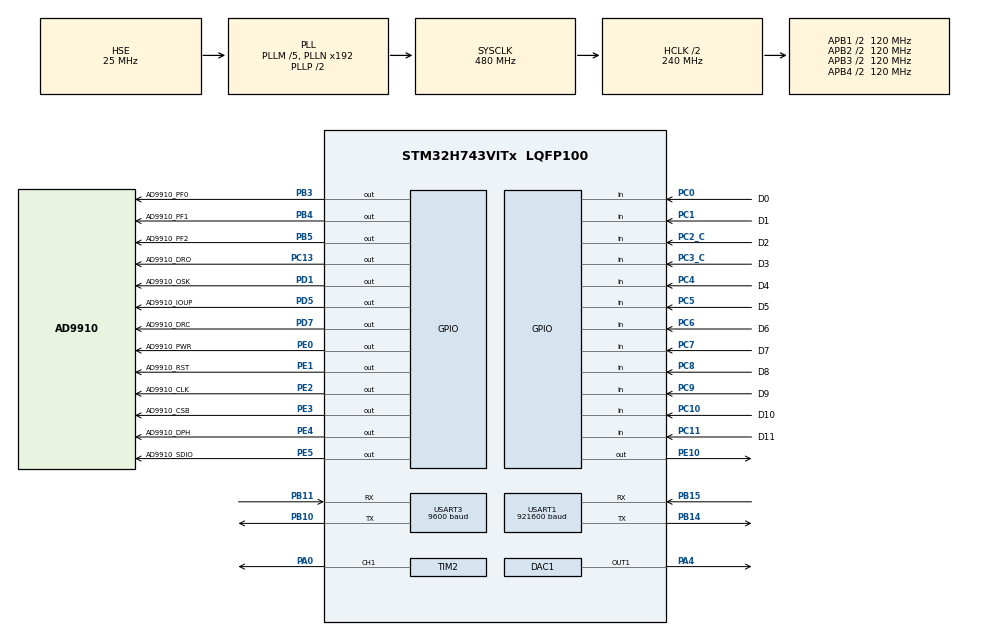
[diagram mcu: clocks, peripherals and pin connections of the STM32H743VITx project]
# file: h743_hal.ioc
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CORTEX_M7.AccessPermission_Spec=MPU_REGION_FULL_ACCESS
CORTEX_M7.BaseAddress_Spec=0x24000000
CORTEX_M7.CPU_DCache=Enabled
CORTEX_M7.CPU_ICache=Enabled
CORTEX_M7.DisableExec_Spec=MPU_INSTRUCTION_ACCESS_ENABLE
CORTEX_M7.IsShareable_Spec=MPU_ACCESS_NOT_SHAREABLE
CORTEX_M7.Size_Spec=MPU_REGION_SIZE_128KB
CORTEX_M7.SubRegionDisable_Spec=0x00
CORTEX_M7.TypeExtField_Spec=MPU_TEX_LEVEL1
CORTEX_M7.default_mode_Activation=1
DAC1.DAC_Channel-DAC_OUT1=DAC_CHANNEL_1
DAC1.DAC_Trigger-DAC_OUT1=DAC_TRIGGER_T4_TRGO
Dma.DAC1_CH1.1.Direction=DMA_MEMORY_TO_PERIPH
Dma.DAC1_CH1.1.EventEnable=DISABLE
Dma.DAC1_CH1.1.FIFOMode=DMA_FIFOMODE_DISABLE
Dma.DAC1_CH1.1.Instance=DMA1_Stream1
Dma.DAC1_CH1.1.MemDataAlignment=DMA_MDATAALIGN_HALFWORD
Dma.DAC1_CH1.1.MemInc=DMA_MINC_ENABLE
Dma.DAC1_CH1.1.Mode=DMA_CIRCULAR
Dma.DAC1_CH1.1.PeriphDataAlignment=DMA_PDATAALIGN_HALFWORD
Dma.DAC1_CH1.1.PeriphInc=DMA_PINC_DISABLE
Dma.DAC1_CH1.1.Polarity=HAL_DMAMUX_REQ_GEN_RISING
Dma.DAC1_CH1.1.Priority=DMA_PRIORITY_LOW
Dma.DAC1_CH1.1.RequestNumber=1
Dma.DAC1_CH1.1.SignalID=NONE
Dma.DAC1_CH1.1.SyncEnable=DISABLE
Dma.DAC1_CH1.1.SyncPolarity=HAL_DMAMUX_SYNC_NO_EVENT
Dma.DAC1_CH1.1.SyncRequestNumber=1
Dma.DAC1_CH1.1.SyncSignalID=NONE
Dma.Request0=TIM2_CH2
Dma.Request1=DAC1_CH1
Dma.TIM2_CH2.0.Direction=DMA_PERIPH_TO_MEMORY
Dma.TIM2_CH2.0.EventEnable=DISABLE
Dma.TIM2_CH2.0.FIFOMode=DMA_FIFOMODE_DISABLE
Dma.TIM2_CH2.0.Instance=DMA1_Stream0
Dma.TIM2_CH2.0.MemDataAlignment=DMA_MDATAALIGN_HALFWORD
Dma.TIM2_CH2.0.MemInc=DMA_MINC_ENABLE
Dma.TIM2_CH2.0.Mode=DMA_NORMAL
Dma.TIM2_CH2.0.PeriphDataAlignment=DMA_PDATAALIGN_HALFWORD
Dma.TIM2_CH2.0.PeriphInc=DMA_PINC_DISABLE
Dma.TIM2_CH2.0.Polarity=HAL_DMAMUX_REQ_GEN_RISING
Dma.TIM2_CH2.0.Priority=DMA_PRIORITY_LOW
Dma.TIM2_CH2.0.RequestNumber=1
Dma.TIM2_CH2.0.SignalID=NONE
Dma.TIM2_CH2.0.SyncEnable=DISABLE
Dma.TIM2_CH2.0.SyncPolarity=HAL_DMAMUX_SYNC_NO_EVENT
Dma.TIM2_CH2.0.SyncRequestNumber=1
Dma.TIM2_CH2.0.SyncSignalID=NONE
Mcu.Family=STM32H7
Mcu.Name=STM32H743VITx
Mcu.Package=LQFP100
NVIC.DMA1_Stream0_IRQn=true\:0\:0\:false\:false\:true\:false\:true\:true
NVIC.DMA1_Stream1_IRQn=true\:0\:0\:false\:false\:true\:false\:true\:true
NVIC.PriorityGroup=NVIC_PRIORITYGROUP_4
NVIC.USART3_IRQn=true\:0\:0\:false\:false\:true\:true\:true\:true
PA0.Signal=S_TIM2_CH1_ETR
PA13\ (JTMS/SWDIO).Mode=Serial_Wire
PA13\ (JTMS/SWDIO).Signal=DEBUG_JTMS-SWDIO
PA14\ (JTCK/SWCLK).Mode=Serial_Wire
PA14\ (JTCK/SWCLK).Signal=DEBUG_JTCK-SWCLK
PA4.Signal=COMP_DAC11_group
PB10.Mode=Asynchronous
PB10.Signal=USART3_TX
PB11.Mode=Asynchronous
PB11.Signal=USART3_RX
PB14.Mode=Asynchronous
PB14.Signal=USART1_TX
PB15.Mode=Asynchronous
PB15.Signal=USART1_RX
PB3\ (JTDO/TRACESWO).GPIO_Label=AD9910_PF0
PB3\ (JTDO/TRACESWO).Signal=GPIO_Output
PB4\ (NJTRST).GPIO_Label=AD9910_PF1
PB4\ (NJTRST).Signal=GPIO_Output
PB5.GPIO_Label=AD9910_PF2
PB5.Signal=GPIO_Output
PC0.GPIO_Label=D0
PC0.Signal=GPIO_Input
PC1.GPIO_Label=D1
PC1.Signal=GPIO_Input
PC10.GPIO_Label=D10
PC10.Signal=GPIO_Input
PC11.GPIO_Label=D11
PC11.Signal=GPIO_Input
PC13.GPIO_Label=AD9910_DRO
PC13.Signal=GPIO_Output
PC14-OSC32_IN\ (OSC32_IN).Mode=LSE-External-Oscillator
PC14-OSC32_IN\ (OSC32_IN).Signal=RCC_OSC32_IN
PC15-OSC32_OUT\ (OSC32_OUT).Mode=LSE-External-Oscillator
PC15-OSC32_OUT\ (OSC32_OUT).Signal=RCC_OSC32_OUT
PC2_C.GPIO_Label=D2
PC2_C.Signal=GPIO_Input
PC3_C.GPIO_Label=D3
PC3_C.Signal=GPIO_Input
PC4.GPIO_Label=D4
PC4.Signal=GPIO_Input
PC5.GPIO_Label=D5
PC5.Signal=GPIO_Input
PC6.GPIO_Label=D6
PC6.Signal=GPIO_Input
PC7.GPIO_Label=D7
PC7.Signal=GPIO_Input
PC8.GPIO_Label=D8
PC8.Signal=GPIO_Input
PC9.GPIO_Label=D9
PC9.Signal=GPIO_Input
PD1.GPIO_Label=AD9910_OSK
PD1.Signal=GPIO_Output
PD5.GPIO_Label=AD9910_IOUP
PD5.Signal=GPIO_Output
PD7.GPIO_Label=AD9910_DRC
PD7.Signal=GPIO_Output
PE0.GPIO_Label=AD9910_PWR
PE0.Signal=GPIO_Output
PE1.GPIO_Label=AD9910_RST
PE1.Signal=GPIO_Output
PE10.Signal=GPIO_Output
PE2.GPIO_Label=AD9910_CLK
PE2.GPIO_Speed=GPIO_SPEED_FREQ_VERY_HIGH
PE2.Signal=GPIO_Output
PE3.GPIO_Label=AD9910_CSB
PE3.Signal=GPIO_Output
PE4.GPIO_Label=AD9910_DPH
PE4.Signal=GPIO_Output
PE5.GPIO_Label=AD9910_SDIO
PE5.Signal=GPIO_Output
PH0-OSC_IN\ (PH0).Mode=HSE-External-Oscillator
PH0-OSC_IN\ (PH0).Signal=RCC_OSC_IN
PH1-OSC_OUT\ (PH1).Mode=HSE-External-Oscillator
PH1-OSC_OUT\ (PH1).Signal=RCC_OSC_OUT
ProjectManager.HeapSize=0x200
ProjectManager.StackSize=0x400
ProjectManager.TargetToolchain=MDK-ARM V5.32
RCC.ADCFreq_Value=75000000
RCC.APB1Freq_Value=120000000
RCC.APB2Freq_Value=120000000
RCC.APB3Freq_Value=120000000
RCC.APB4Freq_Value=120000000
RCC.CortexFreq_Value=480000000
RCC.D1PPRE=RCC_APB3_DIV2
RCC.D2PPRE1=RCC_APB1_DIV2
RCC.D2PPRE2=RCC_APB2_DIV2
RCC.D3PPRE=RCC_APB4_DIV2
RCC.DIVM1=5
RCC.DIVM2=2
RCC.DIVN1=192
RCC.DIVN2=12
RCC.HCLKFreq_Value=240000000
RCC.HPRE=RCC_HCLK_DIV2
RCC.PLL2FRACN=0
RCC.PLL3FRACN=0
RCC.PLLFRACN=0
RCC.PLLSourceVirtual=RCC_PLLSOURCE_HSE
RCC.SYSCLKFreq_VALUE=480000000
RCC.SYSCLKSource=RCC_SYSCLKSOURCE_PLLCLK
RCC.USBFreq_Value=480000000
SH.COMP_DAC11_group.0=DAC1_OUT1,DAC_OUT1
SH.S_TIM2_CH1_ETR.0=TIM2_CH1,PWM Generation1 CH1
TIM2.Channel-PWM\ Generation1\ CH1=TIM_CHANNEL_1
TIM2.Channel-PWM\ Generation2\ No\ Output=TIM_CHANNEL_2
TIM2.Period=117-1
TIM2.Prescaler=2-1
TIM2.Pulse-PWM\ Generation1\ CH1=50
TIM2.Pulse-PWM\ Generation2\ No\ Output=80
TIM4.AutoReloadPreload=TIM_AUTORELOAD_PRELOAD_ENABLE
TIM4.Period=10-1
TIM4.Prescaler=24-1
USART1.BaudRate=921600
USART1.VirtualMode-Asynchronous=VM_ASYNC
USART3.BaudRate=9600
USART3.VirtualMode-Asynchronous=VM_ASYNC
VP_MEMORYMAP_VS_MEMORYMAP.Mode=CurAppReg
VP_TIM2_VS_ClockSourceINT.Mode=Internal
VP_TIM2_VS_no_output2.Mode=PWM Generation2 No Output
VP_TIM4_VS_ClockSourceINT.Mode=Internal
board=custom

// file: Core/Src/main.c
/* USER CODE BEGIN Header */
/**
  ******************************************************************************
  * @file           : main.c
  * @brief          : Main program body
  ******************************************************************************
  * @attention
  *
  * Copyright (c) 2026 STMicroelectronics.
  * All rights reserved.
  *
  * This software is licensed under terms that can be found in the LICENSE file
  * in the root directory of this software component.
  * If no LICENSE file comes with this software, it is provided AS-IS.
  *
  ******************************************************************************
  */
/* USER CODE END Header */
#include "main.h"
#include "dac.h"
#include "dma.h"
#include "tim.h"
#include "usart.h"
#include "gpio.h"

/* USER CODE BEGIN Includes */
#include "app.h"
#include "demodulation_app.h"
#include <stdint.h>
#include "wavefom.h"

/* USER CODE END Includes */

void SystemClock_Config(void);
static void MPU_Config(void);
/* USER CODE BEGIN PFP */
Wave_Struct demodulation_result;
uint8_t demodulation_notcomplete_flag = 1;
/* USER CODE END PFP */

int main(void)
{

  /* MPU Configuration--------------------------------------------------------*/
  MPU_Config();

  /* Enable the CPU Cache */

  /* Enable I-Cache---------------------------------------------------------*/
  SCB_EnableICache();

  /* Enable D-Cache---------------------------------------------------------*/
  SCB_EnableDCache();

  /* MCU Configuration--------------------------------------------------------*/

  /* Reset of all peripherals, Initializes the Flash interface and the Systick. */
  HAL_Init();

  /* Configure the system clock */
  SystemClock_Config();

  /* Initialize all configured peripherals */
  MX_GPIO_Init();
  MX_DMA_Init();
  MX_USART3_UART_Init();
  MX_USART1_UART_Init();
  MX_TIM2_Init();
  MX_DAC1_Init();
  MX_TIM4_Init();
  /* USER CODE BEGIN 2 */
  Serial_RxInit(&huart3) ;

  // Tasks_Init(&huart3);
  WaveGen_Init();
  WaveGen_Start(WAVE_SINE, 1000); /* 默认输出 1kHz 正弦波 */
  HMI_Init(&g_hmi, &huart3);
  HMI_SendInitScreen(&g_hmi) ;
//  FreqMeasure_Init(&g_freq_measure, &htim2);
/*   Scheduler_Init() */;
  Init_AD9910();
  AD9910_FreWrite(9800000.0);
  AD9910_AmpWrite(20);
  ADC_Task_Init();
   ADC_Task_Start();
  /* USER CODE END 2 */

  /* Infinite loop */
  /* USER CODE BEGIN WHILE */
  while (1)
  {
/*       Scheduler_Run() */;

      /* UART3 指令解析 */
      if (rx_len >= 2 && rx_buf[0] == 0x11 && rx_buf[1] == 0x11) {
          ddc_notdone_flag = 1;
          demodulation_notcomplete_flag = 1;
      }

      /*ADC完成处理*/
      if (g_adc_dma_done) {
        if(ddc_notdone_flag){
          App_process();
        }
        if((!ddc_notdone_flag) && demodulation_notcomplete_flag){
          HAL_Delay(100);
          ADC_Task_Start();
          HAL_Delay(500);
          ADC_Task_Stop();
          demodulation_result = do_demodulation();
          demodulation_result.carrier_freq += 200000.0f;
          AD9910_FreWrite(demodulation_result.mod_freq);
          AD9910_AmpWrite(10000);
          HMI_ReportWave(&g_hmi,&demodulation_result);
          demodulation_notcomplete_flag = 0;
        }
      }
    /* USER CODE END WHILE */

  }
}

void SystemClock_Config(void)
{
  RCC_OscInitTypeDef RCC_OscInitStruct = {0};
  RCC_ClkInitTypeDef RCC_ClkInitStruct = {0};

  /** Supply configuration update enable
  */
  HAL_PWREx_ConfigSupply(PWR_LDO_SUPPLY);

  /** Configure the main internal regulator output voltage
  */
  __HAL_PWR_VOLTAGESCALING_CONFIG(PWR_REGULATOR_VOLTAGE_SCALE0);

  while(!__HAL_PWR_GET_FLAG(PWR_FLAG_VOSRDY)) {}

  /** Initializes the RCC Oscillators according to the specified parameters
  * in the RCC_OscInitTypeDef structure.
  */
  RCC_OscInitStruct.OscillatorType = RCC_OSCILLATORTYPE_HSE;
  RCC_OscInitStruct.HSEState = RCC_HSE_ON;
  RCC_OscInitStruct.PLL.PLLState = RCC_PLL_ON;
  RCC_OscInitStruct.PLL.PLLSource = RCC_PLLSOURCE_HSE;
  RCC_OscInitStruct.PLL.PLLM = 5;
  RCC_OscInitStruct.PLL.PLLN = 192;
  RCC_OscInitStruct.PLL.PLLP = 2;
  RCC_OscInitStruct.PLL.PLLQ = 2;
  RCC_OscInitStruct.PLL.PLLR = 2;
  RCC_OscInitStruct.PLL.PLLRGE = RCC_PLL1VCIRANGE_2;
  RCC_OscInitStruct.PLL.PLLVCOSEL = RCC_PLL1VCOWIDE;
  RCC_OscInitStruct.PLL.PLLFRACN = 0;
  if (HAL_RCC_OscConfig(&RCC_OscInitStruct) != HAL_OK)
  {
    Error_Handler();
  }

  /** Initializes the CPU, AHB and APB buses clocks
  */
  RCC_ClkInitStruct.ClockType = RCC_CLOCKTYPE_HCLK|RCC_CLOCKTYPE_SYSCLK
                              |RCC_CLOCKTYPE_PCLK1|RCC_CLOCKTYPE_PCLK2
                              |RCC_CLOCKTYPE_D3PCLK1|RCC_CLOCKTYPE_D1PCLK1;
  RCC_ClkInitStruct.SYSCLKSource = RCC_SYSCLKSOURCE_PLLCLK;
  RCC_ClkInitStruct.SYSCLKDivider = RCC_SYSCLK_DIV1;
  RCC_ClkInitStruct.AHBCLKDivider = RCC_HCLK_DIV2;
  RCC_ClkInitStruct.APB3CLKDivider = RCC_APB3_DIV2;
  RCC_ClkInitStruct.APB1CLKDivider = RCC_APB1_DIV2;
  RCC_ClkInitStruct.APB2CLKDivider = RCC_APB2_DIV2;
  RCC_ClkInitStruct.APB4CLKDivider = RCC_APB4_DIV2;

  if (HAL_RCC_ClockConfig(&RCC_ClkInitStruct, FLASH_LATENCY_4) != HAL_OK)
  {
    Error_Handler();
  }
}

/* USER CODE BEGIN 4 */

/* DMA normal 模式每采集 FFT_N + 4 点触发一次，FFT 仍使用 FFT_N 点。 */
void AD9220_ConvCpltCallback(void)
{
    g_adc_dma_done = 1;
}

 void UsartReceive_IDLE(UART_HandleTypeDef *huart) {
     Serial_RxOnIdle(huart);
}
/* USER CODE END 4 */

 /* MPU Configuration */

void MPU_Config(void)
{
  MPU_Region_InitTypeDef MPU_InitStruct = {0};

  /* Disables the MPU */
  HAL_MPU_Disable();

  /** Initializes and configures the Region and the memory to be protected
  */
  MPU_InitStruct.Enable = MPU_REGION_ENABLE;
  MPU_InitStruct.Number = MPU_REGION_NUMBER0;
  MPU_InitStruct.BaseAddress = 0x24000000;
  MPU_InitStruct.Size = MPU_REGION_SIZE_128KB;
  MPU_InitStruct.SubRegionDisable = 0x00;
  MPU_InitStruct.TypeExtField = MPU_TEX_LEVEL1;
  MPU_InitStruct.AccessPermission = MPU_REGION_FULL_ACCESS;
  MPU_InitStruct.DisableExec = MPU_INSTRUCTION_ACCESS_ENABLE;
  MPU_InitStruct.IsShareable = MPU_ACCESS_NOT_SHAREABLE;
  MPU_InitStruct.IsCacheable = MPU_ACCESS_NOT_CACHEABLE;
  MPU_InitStruct.IsBufferable = MPU_ACCESS_NOT_BUFFERABLE;

  HAL_MPU_ConfigRegion(&MPU_InitStruct);
  /* Enables the MPU */
  HAL_MPU_Enable(MPU_PRIVILEGED_DEFAULT);

}

void Error_Handler(void)
{
  __disable_irq();
  while (1)
  {
  }
}
